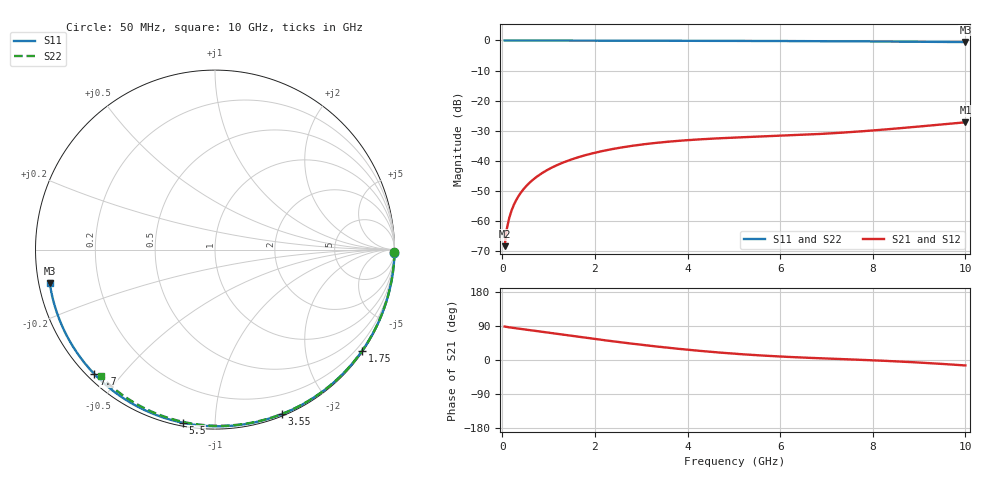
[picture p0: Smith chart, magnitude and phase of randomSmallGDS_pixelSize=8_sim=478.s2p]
! freq	dB(S11)	phase(S11)	dB(S12)	phase(S12)
!  dB(S21)	phase(S21)	dB(S22)	phase(S22)
!S-par simulation data
#  GHz  S  DB  R 50
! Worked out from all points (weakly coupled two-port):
!   200 points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, 50 MHz to 10 GHz, reference 50 ohm
!   highest |S21| = -27.17 dB at 10 GHz (marker M1); lowest = -68.3 dB at 50 MHz (marker M2)
!   lowest |S11| = -0.5 dB at 10 GHz (marker M3), VSWR 32.09, Z = 1.57 - j5.04 ohm
!   |S11| at or under -10 dB: nowhere
!   |S22| runs from -0.4 to 0.0 dB; largest |S21 - S12| = 0
!   S11 on the Smith chart (normalised r, x): 50 MHz: open; 1.75 GHz: 0.03, -3.21; 3.55 GHz: 0.02, -1.48; 5.5 GHz: 0.02, -0.83; 7.7 GHz: 0.02, -0.42; 10 GHz: 0.03, -0.10
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0.05  -0.00 -1.0  -68.29 88.4  -68.29 88.4  -0.00 -0.8
0.1  -0.00 -2.0  -62.34 87.1  -62.34 87.1  -0.00 -1.6
0.15  -0.00 -3.0  -58.89 86.2  -58.89 86.2  -0.00 -2.3
0.2  -0.00 -4.0  -56.45 85.3  -56.45 85.3  -0.00 -3.1
0.25  -0.00 -5.0  -54.55 84.5  -54.55 84.5  -0.00 -3.9
0.35  -0.01 -7.1  -51.68 83.0  -51.68 83.0  -0.00 -5.4
0.5  -0.01 -10.1  -48.63 80.5  -48.63 80.5  -0.01 -7.8
0.7  -0.02 -14.1  -45.76 77.2  -45.76 77.2  -0.01 -10.8
1  -0.02 -20.0  -42.76 72.1  -42.76 72.1  -0.02 -15.4
1.35  -0.03 -26.9  -40.31 66.2  -40.31 66.2  -0.03 -20.7
1.75  -0.04 -34.6  -38.27 59.5  -38.27 59.5  -0.03 -26.8
2.6  -0.07 -50.7  -35.45 46.1  -35.45 46.1  -0.05 -39.3
3.4  -0.09 -65.3  -33.87 34.7  -33.87 34.7  -0.07 -50.8
3.55  -0.09 -67.9  -33.65 32.7  -33.65 32.7  -0.07 -53.0
4.3  -0.12 -80.9  -32.80 23.7  -32.80 23.7  -0.09 -63.3
5.05  -0.14 -93.4  -32.22 16.3  -32.22 16.3  -0.11 -73.4
5.5  -0.16 -100.6  -31.94 12.6  -31.94 12.6  -0.13 -79.2
6.7  -0.23 -119.2  -31.16 5.3  -31.16 5.3  -0.18 -94.2
7.7  -0.30 -134.2  -30.23 0.7  -30.23 0.7  -0.24 -106.1
8.35  -0.36 -143.8  -29.44 -2.7  -29.44 -2.7  -0.29 -113.6
9.2  -0.45 -156.4  -28.29 -8.1  -28.29 -8.1  -0.36 -123.3
10  -0.54 -168.5  -27.17 -14.4  -27.17 -14.4  -0.44 -132.1
